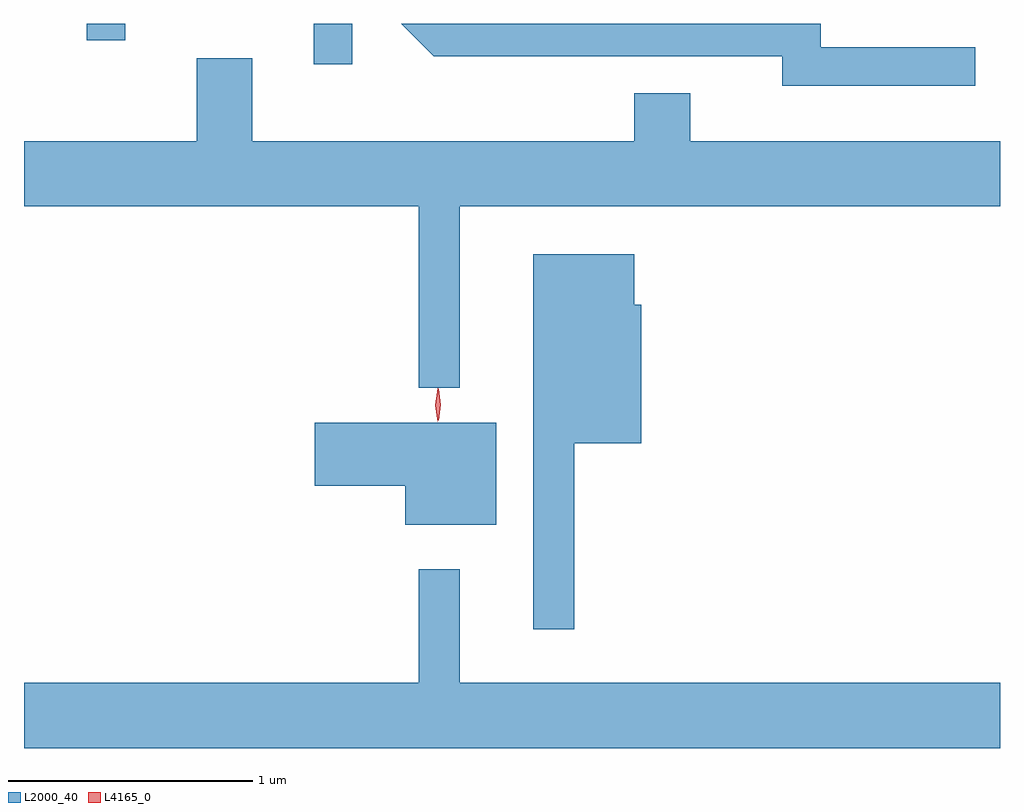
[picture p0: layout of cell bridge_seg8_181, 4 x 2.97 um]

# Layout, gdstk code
import gdstk
lib = gdstk.Library(unit=1e-6, precision=1e-09)
def R(c, l, rs):  # rectangles x0, y0, x1, y1
    for r in rs: c.add(gdstk.rectangle(r[:2], r[2:], *l))
def P(c, l, *ps):  # polygons
    for p in ps: c.add(gdstk.Polygon(p, *l))
L2000_40 = (2000, 40)
L4165_0 = (4165, 0)

bridge_seg8_181 = lib.new_cell('bridge_seg8_181')
R(bridge_seg8_181, L2000_40, [(1109.951,1905.818,1110.109,1905.984), (1109.021,1905.918,1109.179,1905.984)])
P(bridge_seg8_181, L2000_40, [(1112.663,1905.889),(1112.029,1905.889),(1112.029,1905.984),(1110.311,1905.984),(1110.444,1905.851),(1111.871,1905.851),(1111.871,1905.731),(1112.663,1905.731)],
  [(1110.549,1905.236),(1112.764,1905.236),(1112.764,1905.504),(1111.494,1905.504),(1111.494,1905.699),(1111.266,1905.699),(1111.266,1905.504),(1109.699,1905.504),(1109.699,1905.844),(1109.471,1905.844),(1109.471,1905.504),(1108.764,1905.504),(1108.764,1905.236),(1110.381,1905.236),(1110.381,1904.493),(1110.549,1904.493)],
  [(1111.019,1904.266),(1111.294,1904.266),(1111.294,1904.834),(1111.264,1904.834),(1111.264,1905.039),(1110.851,1905.039),(1110.851,1903.503),(1111.019,1903.503)],
  [(1110.699,1904.349),(1109.956,1904.349),(1109.956,1904.091),(1110.326,1904.091),(1110.326,1903.931),(1110.699,1903.931)],
  [(1112.764,1903.284),(1110.549,1903.284),(1110.549,1903.748),(1110.381,1903.748),(1110.381,1903.284),(1108.764,1903.284),(1108.764,1903.016),(1112.764,1903.016)])
P(bridge_seg8_181, L4165_0, [(1110.462,1904.36),(1110.453,1904.424),(1110.462,1904.486),(1110.463,1904.487),(1110.464,1904.486),(1110.473,1904.424),(1110.464,1904.36),(1110.463,1904.36)],
  [(1110.459,1904.354),(1110.459,1904.354),(1110.45,1904.422),(1110.46,1904.49),(1110.461,1904.49),(1110.461,1904.49),(1110.47,1904.422),(1110.46,1904.354)])

lib.write_gds('bridge_seg8_181.gds')
